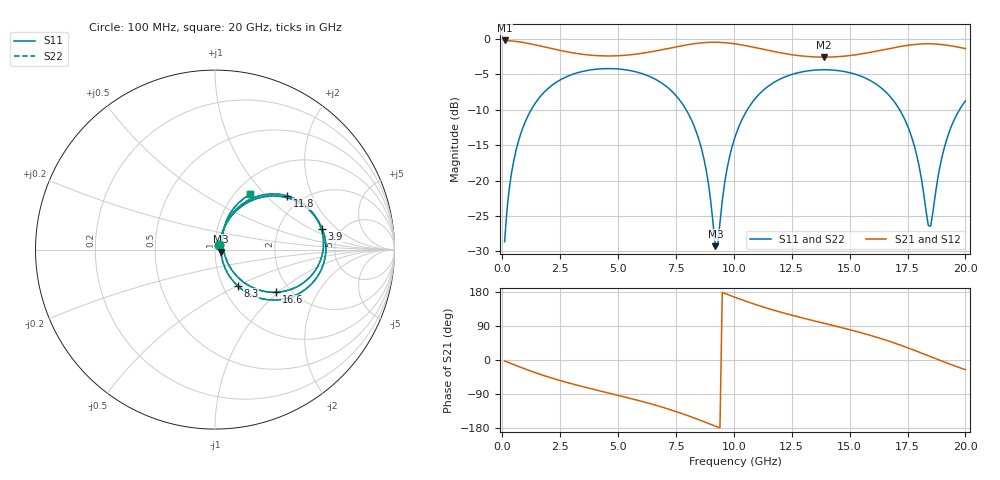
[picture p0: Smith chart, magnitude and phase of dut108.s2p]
! Touchstone file exported from HFSS 2026.1.0
!  File:  C:/ffzhzh/LocalFiles/Ansys_Project_Files/temp_train_TSV_RDL_108_1783045285_46780.aedt
!  Generated:  10:42:16 AM Jul  3, 2026
!  Design:  TSV_RDL
!  Project:  temp_train_TSV_RDL_108_1783045285_46780
! Variables:
!  h_bsmrdl = 5.5um
!  h_ox = 20um
!  h_rdl = 5um
!  h_sub = 59.42um
!  h_tmrdl = 5.86um
!  h_tsv = 59.42um
!  h_via = 3um
!  l_bsmrdl = 961.41um
!  l_sub = 6771.89um
!  l_tmrdl = 843.49um
!  m_sub = 200um
!  pitch = 56.23um
!  r_tsv = 7.75um
!  s_tmrdl = 10um
!  w_bsmrdl = 23.63um
!  w_sub = 500um
!  w_tmrdl = 14.27um
!  x_tsv_center1 = 850.625um
!  x_tsv_center2 = 1835.665um
!  x_tsv_center3 = 2693.425um
!  x_tsv_center4 = 3678.465um
!  x_tsv_center5 = 4536.225um
!  x_tsv_center6 = 5521.265um
# GHz S MA R 50.000000
! Terminal data exported
! Port[1] = TM_RDL1_1_T1
! Port[2] = TM_RDL5_1_T1
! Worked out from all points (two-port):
!   200 points, 100 MHz to 20 GHz, reference 50 ohm
!   highest |S21| = -0.21 dB at 100 MHz (marker M1); lowest = -2.6 dB at 13.9 GHz (marker M2)
!   |S21| within 3 dB of the highest: start of sweep to end of sweep
!   lowest |S11| = -29.3 dB at 9.2 GHz (marker M3), VSWR 1.07, Z = 53.4 - j1.16 ohm
!   |S11| at or under -10 dB: start of sweep to 1.247 GHz; 7.94 GHz to 10.58 GHz (2.64 GHz wide, 28.5 % of centre); 17.16 GHz to 19.75 GHz (2.587 GHz wide, 14 % of centre)
!   |S22| runs from -29.3 to -4.2 dB; largest |S21 - S12| = 1.6e-14
!   S11 on the Smith chart (normalised r, x): 100 MHz: 1.05, +0.06; 3.9 GHz: 3.57, +1.33; 8.3 GHz: 1.17, -0.50; 11.8 GHz: 1.68, +1.34; 16.6 GHz: 1.69, -0.97; 20 GHz: 1.17, +0.83
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0.1  0.037 48.6  0.9764 -2.5  0.9764 -2.5  0.037 48.6
! Gamma 0 0 0 0
! Port Impedance 50 0 50 0
0.5  0.1395 67.1  0.965 -12.3  0.965 -12.3  0.1395 67.1
1.1  0.2848 58.3  0.9321 -26.3  0.9321 -26.3  0.2848 58.3
3.5  0.5919 17.0  0.7785 -70.7  0.7785 -70.7  0.5919 17.0
3.9  0.6078 11.1  0.7667 -76.8  0.7667 -76.8  0.6078 11.1
5.4  0.6032 -10.3  0.7697 -99.3  0.7697 -99.3  0.6031 -10.3
6.8  0.4987 -32.1  0.8337 -122.5  0.8337 -122.5  0.4987 -32.1
8.3  0.239 -57.9  0.9266 -153.3  0.9266 -153.3  0.239 -57.9
8.8  0.1202 -61.5  0.9443 -164.9  0.9443 -164.9  0.1202 -61.5
9.2  0.03446 -18.3  0.9482 -174.5  0.9482 -174.5  0.03433 -18.3
9.3  0.03447 23.6  0.9476 -176.9  0.9476 -176.9  0.03434 23.8
9.7  0.1197 66.8  0.939 173.6  0.939 173.6  0.1196 66.9
10.1  0.2142 64.7  0.9217 164.3  0.9217 164.3  0.2141 64.8
11.8  0.5012 36.6  0.8111 130.1  0.8111 130.1  0.5011 36.7
13.4  0.6009 12.8  0.7482 104.3  0.7482 104.3  0.6009 12.8
13.9  0.6064 5.8  0.7444 96.8  0.7444 96.8  0.6064 5.9
16.6  0.4166 -34.8  0.8482 51.8  0.8482 51.8  0.4166 -34.6
16.7  0.4005 -36.5  0.8547 49.8  0.8547 49.8  0.4005 -36.3
17.7  0.1981 -50.6  0.9105 27.9  0.9105 27.9  0.1983 -50.2
18.5  0.04776 22.7  0.9242 8.8  0.9242 8.8  0.04894 22.5
19.1  0.1734 68.4  0.9086 -5.5  0.9086 -5.5  0.1738 68.0
20  0.365 57.4  0.8557 -25.5  0.8557 -25.5  0.3652 57.3
